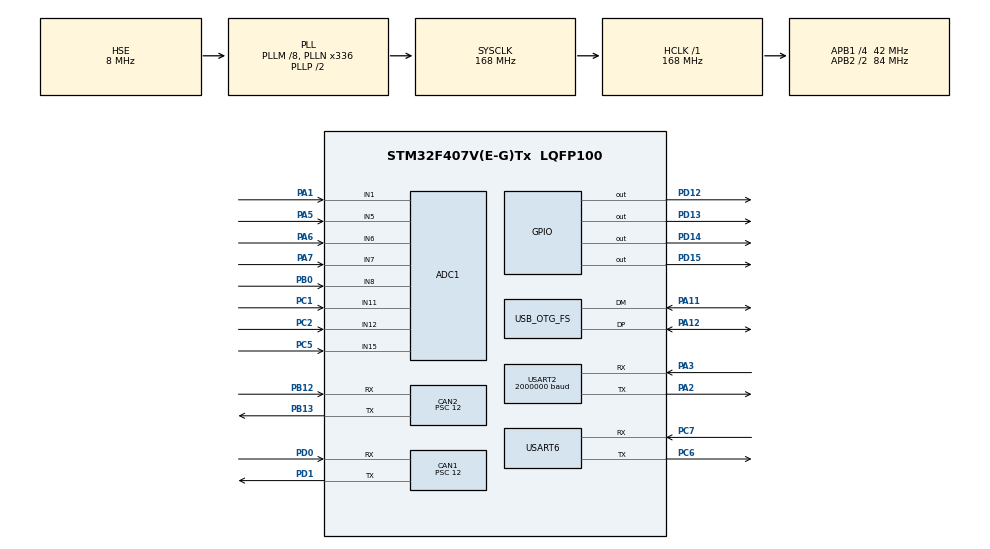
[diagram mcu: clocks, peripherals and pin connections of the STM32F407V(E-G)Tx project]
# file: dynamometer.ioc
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ADC1.Channel-0\#ChannelRegularConversion=ADC_CHANNEL_1
ADC1.Channel-1\#ChannelRegularConversion=ADC_CHANNEL_5
ADC1.Channel-2\#ChannelRegularConversion=ADC_CHANNEL_6
ADC1.Channel-3\#ChannelRegularConversion=ADC_CHANNEL_7
ADC1.Channel-4\#ChannelRegularConversion=ADC_CHANNEL_8
ADC1.Channel-5\#ChannelRegularConversion=ADC_CHANNEL_11
ADC1.Channel-6\#ChannelRegularConversion=ADC_CHANNEL_12
ADC1.Channel-7\#ChannelRegularConversion=ADC_CHANNEL_15
ADC1.Channel-8\#ChannelRegularConversion=ADC_CHANNEL_TEMPSENSOR
ADC1.Channel-9\#ChannelRegularConversion=ADC_CHANNEL_VREFINT
ADC1.ContinuousConvMode=ENABLE
ADC1.DMAContinuousRequests=ENABLE
ADC1.NbrOfConversion=10
ADC1.NbrOfConversionFlag=1
ADC1.Rank-0\#ChannelRegularConversion=1
ADC1.Rank-1\#ChannelRegularConversion=2
ADC1.Rank-2\#ChannelRegularConversion=3
ADC1.Rank-3\#ChannelRegularConversion=4
ADC1.Rank-4\#ChannelRegularConversion=5
ADC1.Rank-5\#ChannelRegularConversion=6
ADC1.Rank-6\#ChannelRegularConversion=7
ADC1.Rank-7\#ChannelRegularConversion=8
ADC1.Rank-8\#ChannelRegularConversion=9
ADC1.Rank-9\#ChannelRegularConversion=10
ADC1.SamplingTime-0\#ChannelRegularConversion=ADC_SAMPLETIME_56CYCLES
ADC1.SamplingTime-1\#ChannelRegularConversion=ADC_SAMPLETIME_56CYCLES
ADC1.SamplingTime-2\#ChannelRegularConversion=ADC_SAMPLETIME_56CYCLES
ADC1.SamplingTime-3\#ChannelRegularConversion=ADC_SAMPLETIME_56CYCLES
ADC1.SamplingTime-4\#ChannelRegularConversion=ADC_SAMPLETIME_56CYCLES
ADC1.SamplingTime-5\#ChannelRegularConversion=ADC_SAMPLETIME_56CYCLES
ADC1.SamplingTime-6\#ChannelRegularConversion=ADC_SAMPLETIME_56CYCLES
ADC1.SamplingTime-7\#ChannelRegularConversion=ADC_SAMPLETIME_56CYCLES
ADC1.SamplingTime-8\#ChannelRegularConversion=ADC_SAMPLETIME_480CYCLES
ADC1.SamplingTime-9\#ChannelRegularConversion=ADC_SAMPLETIME_480CYCLES
ADC1.ScanConvMode=ENABLE
ADC1.master=1
CAN1.BS1=CAN_BS1_5TQ
CAN1.CalculateTimeQuantum=285.7142857142857
CAN1.Prescaler=12
CAN2.BS1=CAN_BS1_5TQ
CAN2.CalculateTimeQuantum=285.7142857142857
CAN2.Prescaler=12
Dma.Request0=USART2_RX
Dma.Request1=USART2_TX
Dma.Request2=USART6_RX
Dma.Request3=USART6_TX
Dma.USART2_RX.0.Direction=DMA_PERIPH_TO_MEMORY
Dma.USART2_RX.0.FIFOMode=DMA_FIFOMODE_DISABLE
Dma.USART2_RX.0.Instance=DMA1_Stream5
Dma.USART2_RX.0.MemDataAlignment=DMA_MDATAALIGN_BYTE
Dma.USART2_RX.0.MemInc=DMA_MINC_ENABLE
Dma.USART2_RX.0.Mode=DMA_CIRCULAR
Dma.USART2_RX.0.PeriphDataAlignment=DMA_PDATAALIGN_BYTE
Dma.USART2_RX.0.PeriphInc=DMA_PINC_DISABLE
Dma.USART2_RX.0.Priority=DMA_PRIORITY_LOW
Dma.USART2_TX.1.Direction=DMA_MEMORY_TO_PERIPH
Dma.USART2_TX.1.FIFOMode=DMA_FIFOMODE_DISABLE
Dma.USART2_TX.1.Instance=DMA1_Stream6
Dma.USART2_TX.1.MemDataAlignment=DMA_MDATAALIGN_BYTE
Dma.USART2_TX.1.MemInc=DMA_MINC_ENABLE
Dma.USART2_TX.1.Mode=DMA_NORMAL
Dma.USART2_TX.1.PeriphDataAlignment=DMA_PDATAALIGN_BYTE
Dma.USART2_TX.1.PeriphInc=DMA_PINC_DISABLE
Dma.USART2_TX.1.Priority=DMA_PRIORITY_LOW
Dma.USART6_RX.2.Direction=DMA_PERIPH_TO_MEMORY
Dma.USART6_RX.2.FIFOMode=DMA_FIFOMODE_DISABLE
Dma.USART6_RX.2.Instance=DMA2_Stream1
Dma.USART6_RX.2.MemDataAlignment=DMA_MDATAALIGN_BYTE
Dma.USART6_RX.2.MemInc=DMA_MINC_ENABLE
Dma.USART6_RX.2.Mode=DMA_CIRCULAR
Dma.USART6_RX.2.PeriphDataAlignment=DMA_PDATAALIGN_BYTE
Dma.USART6_RX.2.PeriphInc=DMA_PINC_DISABLE
Dma.USART6_RX.2.Priority=DMA_PRIORITY_LOW
Dma.USART6_TX.3.Direction=DMA_MEMORY_TO_PERIPH
Dma.USART6_TX.3.FIFOMode=DMA_FIFOMODE_DISABLE
Dma.USART6_TX.3.Instance=DMA2_Stream6
Dma.USART6_TX.3.MemDataAlignment=DMA_MDATAALIGN_BYTE
Dma.USART6_TX.3.MemInc=DMA_MINC_ENABLE
Dma.USART6_TX.3.Mode=DMA_NORMAL
Dma.USART6_TX.3.PeriphDataAlignment=DMA_PDATAALIGN_BYTE
Dma.USART6_TX.3.PeriphInc=DMA_PINC_DISABLE
Dma.USART6_TX.3.Priority=DMA_PRIORITY_LOW
FREERTOS.INCLUDE_uxTaskGetStackHighWaterMark=1
FREERTOS.INCLUDE_vTaskDelayUntil=1
FREERTOS.INCLUDE_vTaskDelete=0
FREERTOS.INCLUDE_xTaskGetCurrentTaskHandle=1
FREERTOS.MEMORY_ALLOCATION=2
FREERTOS.Tasks01=defaultTask,0,128,StartDefaultTask,Default,NULL
FREERTOS.configCHECK_FOR_STACK_OVERFLOW=2
FREERTOS.configMINIMAL_STACK_SIZE=64
FREERTOS.configQUEUE_REGISTRY_SIZE=12
FREERTOS.configTICK_RATE_HZ=512
FREERTOS.configUSE_TIMERS=1
Mcu.Family=STM32F4
Mcu.Name=STM32F407V(E-G)Tx
Mcu.Package=LQFP100
NVIC.ADC_IRQn=true\:6\:0\:true\:false\:true\:true\:true
NVIC.CAN1_RX0_IRQn=true\:7\:0\:true\:false\:true\:true\:true
NVIC.CAN1_RX1_IRQn=true\:7\:0\:true\:false\:true\:true\:true
NVIC.CAN1_TX_IRQn=true\:5\:0\:false\:false\:true\:true\:true
NVIC.CAN2_RX0_IRQn=true\:7\:0\:true\:false\:true\:true\:true
NVIC.CAN2_RX1_IRQn=true\:7\:0\:true\:false\:true\:true\:true
NVIC.CAN2_TX_IRQn=true\:5\:0\:false\:false\:true\:true\:true
NVIC.DMA1_Stream5_IRQn=true\:5\:0\:true\:false\:true\:true\:false
NVIC.DMA1_Stream6_IRQn=true\:6\:0\:true\:false\:true\:true\:false
NVIC.DMA2_Stream1_IRQn=true\:7\:0\:true\:false\:true\:true\:false
NVIC.DMA2_Stream6_IRQn=true\:7\:0\:true\:false\:true\:true\:false
NVIC.OTG_FS_IRQn=true\:5\:0\:false\:false\:true\:true\:false
NVIC.PriorityGroup=NVIC_PRIORITYGROUP_4
NVIC.TIM5_IRQn=true\:0\:0\:false\:false\:true\:false\:false
NVIC.TimeBase=TIM5_IRQn
NVIC.TimeBaseIP=TIM5
NVIC.USART2_IRQn=true\:6\:0\:true\:false\:true\:true\:true
NVIC.USART6_IRQn=true\:8\:0\:true\:false\:true\:true\:true
PA1.Signal=ADCx_IN1
PA11.Mode=Device_Only
PA11.Signal=USB_OTG_FS_DM
PA12.Mode=Device_Only
PA12.Signal=USB_OTG_FS_DP
PA2.Mode=Asynchronous
PA2.Signal=USART2_TX
PA3.Mode=Asynchronous
PA3.Signal=USART2_RX
PA5.Signal=ADCx_IN5
PA6.Signal=ADCx_IN6
PA7.Signal=ADCx_IN7
PB0.Signal=ADCx_IN8
PB12.Mode=Slave
PB12.Signal=CAN2_RX
PB13.Mode=Slave
PB13.Signal=CAN2_TX
PC1.Signal=ADCx_IN11
PC2.Signal=ADCx_IN12
PC5.Signal=ADCx_IN15
PC6.Mode=Asynchronous
PC6.Signal=USART6_TX
PC7.Mode=Asynchronous
PC7.Signal=USART6_RX
PD0.Mode=Master
PD0.Signal=CAN1_RX
PD1.Mode=Master
PD1.Signal=CAN1_TX
PD12.Signal=GPIO_Output
PD13.Signal=GPIO_Output
PD14.Signal=GPIO_Output
PD15.Signal=GPIO_Output
PH0-OSC_IN.Mode=HSE-External-Oscillator
PH0-OSC_IN.Signal=RCC_OSC_IN
PH1-OSC_OUT.Mode=HSE-External-Oscillator
PH1-OSC_OUT.Signal=RCC_OSC_OUT
ProjectManager.HeapSize=0x200
ProjectManager.StackSize=0x400
ProjectManager.TargetToolchain=Makefile
RCC.48MHZClocksFreq_Value=48000000
RCC.AHBFreq_Value=168000000
RCC.APB1CLKDivider=RCC_HCLK_DIV4
RCC.APB1Freq_Value=42000000
RCC.APB1TimFreq_Value=84000000
RCC.APB2CLKDivider=RCC_HCLK_DIV2
RCC.APB2Freq_Value=84000000
RCC.APB2TimFreq_Value=168000000
RCC.CortexFreq_Value=168000000
RCC.HCLKFreq_Value=168000000
RCC.HSE_VALUE=8000000
RCC.HSI_VALUE=16000000
RCC.LSE_VALUE=32768
RCC.PLLM=8
RCC.PLLN=336
RCC.PLLQ=7
RCC.SYSCLKFreq_VALUE=168000000
RCC.SYSCLKSource=RCC_SYSCLKSOURCE_PLLCLK
RCC.VCOOutputFreq_Value=336000000
SH.ADCx_IN1.0=ADC1_IN1,IN1
SH.ADCx_IN11.0=ADC1_IN11,IN11
SH.ADCx_IN12.0=ADC1_IN12,IN12
SH.ADCx_IN15.0=ADC1_IN15,IN15
SH.ADCx_IN5.0=ADC1_IN5,IN5
SH.ADCx_IN6.0=ADC1_IN6,IN6
SH.ADCx_IN7.0=ADC1_IN7,IN7
SH.ADCx_IN8.0=ADC1_IN8,IN8
USART2.BaudRate=2000000
USART2.VirtualMode=VM_ASYNC
USART6.VirtualMode=VM_ASYNC
USB_DEVICE.CLASS_NAME_FS=CDC
USB_DEVICE.VirtualMode-CDC_FS=Cdc
USB_DEVICE.VirtualModeFS=Cdc_FS
USB_OTG_FS.VirtualMode=Device_Only
VP_ADC1_TempSens_Input.Mode=IN-TempSens
VP_ADC1_Vref_Input.Mode=IN-Vrefint
VP_FREERTOS_VS_ENABLE.Mode=Enabled
VP_SYS_VS_tim5.Mode=TIM5
VP_USB_DEVICE_VS_USB_DEVICE_CDC_FS.Mode=CDC_FS
board=custom

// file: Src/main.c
/* USER CODE BEGIN Header */
/**
  ******************************************************************************
  * @file           : main.c
  * @brief          : Main program body
  ******************************************************************************
  * This notice applies to any and all portions of this file
  * that are not between comment pairs USER CODE BEGIN and
  * USER CODE END. Other portions of this file, whether
  * inserted by the user or by software development tools
  * are owned by their respective copyright owners.
  *
  * Copyright (c) 2019 STMicroelectronics International N.V.
  * All rights reserved.
  *
  * Redistribution and use in source and binary forms, with or without
  * modification, are permitted, provided that the following conditions are met:
  *
  * 1. Redistribution of source code must retain the above copyright notice,
  *    this list of conditions and the following disclaimer.
  * 2. Redistributions in binary form must reproduce the above copyright notice,
  *    this list of conditions and the following disclaimer in the documentation
  *    and/or other materials provided with the distribution.
  * 3. Neither the name of STMicroelectronics nor the names of other
  *    contributors to this software may be used to endorse or promote products
  *    derived from this software without specific written permission.
  * 4. This software, including modifications and/or derivative works of this
  *    software, must execute solely and exclusively on microcontroller or
  *    microprocessor devices manufactured by or for STMicroelectronics.
  * 5. Redistribution and use of this software other than as permitted under
  *    this license is void and will automatically terminate your rights under
  *    this license.
  *
  * THIS SOFTWARE IS PROVIDED BY STMICROELECTRONICS AND CONTRIBUTORS "AS IS"
  * AND ANY EXPRESS, IMPLIED OR STATUTORY WARRANTIES, INCLUDING, BUT NOT
  * LIMITED TO, THE IMPLIED WARRANTIES OF MERCHANTABILITY, FITNESS FOR A
  * PARTICULAR PURPOSE AND NON-INFRINGEMENT OF THIRD PARTY INTELLECTUAL PROPERTY
  * RIGHTS ARE DISCLAIMED TO THE FULLEST EXTENT PERMITTED BY LAW. IN NO EVENT
  * SHALL STMICROELECTRONICS OR CONTRIBUTORS BE LIABLE FOR ANY DIRECT, INDIRECT,
  * INCIDENTAL, SPECIAL, EXEMPLARY, OR CONSEQUENTIAL DAMAGES (INCLUDING, BUT NOT
  * LIMITED TO, PROCUREMENT OF SUBSTITUTE GOODS OR SERVICES; LOSS OF USE, DATA,
  * OR PROFITS; OR BUSINESS INTERRUPTION) HOWEVER CAUSED AND ON ANY THEORY OF
  * LIABILITY, WHETHER IN CONTRACT, STRICT LIABILITY, OR TORT (INCLUDING
  * NEGLIGENCE OR OTHERWISE) ARISING IN ANY WAY OUT OF THE USE OF THIS SOFTWARE,
  * EVEN IF ADVISED OF THE POSSIBILITY OF SUCH DAMAGE.
  *
  ******************************************************************************
  */
/* USER CODE END Header */

#include "main.h"
#include "cmsis_os.h"
#include "usb_device.h"

/* USER CODE BEGIN Includes */
#include <string.h>
#include "SerialTaskSend.h"
#include "stm32f4xx_hal_pcd.h"
#include "usbd_cdc_if.h"
#include "cdc_txbuff.h"
#include "CanTask.h"
#include "can_iface.h"
#include "canfilter_setup.h"
#include "stm32f4xx_hal_can.h"
#include "getserialbuf.h"
#include "stackwatermark.h"
#include "yprintf.h"
#include "gateway_comm.h"
#include "gateway_CANtoPC.h"
#include "DTW_counter.h"
#include "SerialTaskReceive.h"
#include "yscanf.h"
#include "adctask.h"
#include "ADCTask.h"
#include "adcparams.h"
#include "adcparamsinit.h"
#include "gateway_PCtoCAN.h"
#include "morse.h"
#include "MailboxTask.h"
#include "GatewayTask.h"
#include "iir_f2.h"

/* USER CODE END Includes */

/* USER CODE BEGIN PTD */
#define CONFIGCAN2	// Do initializations for CAN2

void* verr[8];
uint32_t verrx = 0;
__attribute__( ( always_inline ) ) __STATIC_INLINE uint32_t __get_SP(void)
{
  register uint32_t result;

  __ASM volatile ("MOV %0, SP\n" : "=r" (result) );
  return(result);
}

uint32_t timectr = 0;
struct CAN_CTLBLOCK* pctl0;	// Pointer to CAN1 control block
struct CAN_CTLBLOCK* pctl1;	// Pointer to CAN2 control block

uint32_t debugTX1b;
uint32_t debugTX1b_prev;

uint32_t debugTX1c;
uint32_t debugTX1c_prev;

uint32_t debug03;
uint32_t debug03_prev;

extern osThreadId SerialTaskHandle;
extern osThreadId CanTxTaskHandle;
extern osThreadId CanRxTaskHandle;
extern osThreadId SerialTaskReceiveHandle;
extern osThreadId GatewayTaskHandle;

uint8_t canflag;
uint8_t canflag1;
uint8_t canflag2;

/* USER CODE END PTD */

ADC_HandleTypeDef hadc1;
DMA_HandleTypeDef hdma_adc1;

CAN_HandleTypeDef hcan1;
CAN_HandleTypeDef hcan2;

UART_HandleTypeDef huart2;
UART_HandleTypeDef huart6;
DMA_HandleTypeDef hdma_usart2_rx;
DMA_HandleTypeDef hdma_usart2_tx;
DMA_HandleTypeDef hdma_usart6_rx;
DMA_HandleTypeDef hdma_usart6_tx;

osThreadId defaultTaskHandle;
osTimerId defaultTaskTimerHandle;
osTimerId defautTaskTimer01Handle;

void SystemClock_Config(void);
static void MX_GPIO_Init(void);
static void MX_DMA_Init(void);
static void MX_USART6_UART_Init(void);
static void MX_USART2_UART_Init(void);
static void MX_CAN1_Init(void);
static void MX_CAN2_Init(void);
static void MX_ADC1_Init(void);
void StartDefaultTask(void const * argument);
void CallbackdefaultTaskTimer(void const * argument);
void CallbackdefaultTaskTimer01(void const * argument);

int main(void)
{
  /* USER CODE BEGIN 1 */
	BaseType_t ret;	   // Used for returns from function calls
	osMessageQId Qidret; // Functin call return
  /* USER CODE END 1 */

  /* MCU Configuration--------------------------------------------------------*/

  /* Reset of all peripherals, Initializes the Flash interface and the Systick. */
  HAL_Init();

  /* USER CODE BEGIN Init */
	DTW_counter_init();
  /* USER CODE END Init */

  /* Configure the system clock */
  SystemClock_Config();

  /* Initialize all configured peripherals */
  MX_GPIO_Init();
  MX_DMA_Init();
  MX_USART6_UART_Init();
  MX_USART2_UART_Init();
  MX_CAN1_Init();
  MX_CAN2_Init();
  MX_ADC1_Init();
  /* USER CODE BEGIN 2 */
/*
DiscoveryF4 LEDs --
 GPIOD, GPIO_PIN_12 GREEN
 GPIOD, GPIO_PIN_13 ORANGE
 GPIOD, GPIO_PIN_14 RED
 GPIOD, GPIO_PIN_15 BLUE
*/

  /* USER CODE END 2 */

  /* Create the timer(s) */
  /* definition and creation of defaultTaskTimer */
  osTimerDef(defaultTaskTimer, CallbackdefaultTaskTimer);
  defaultTaskTimerHandle = osTimerCreate(osTimer(defaultTaskTimer), osTimerPeriodic, NULL);

  /* definition and creation of defautTaskTimer01 */
  osTimerDef(defautTaskTimer01, CallbackdefaultTaskTimer01);
  defautTaskTimer01Handle = osTimerCreate(osTimer(defautTaskTimer01), osTimerPeriodic, NULL);

  /* USER CODE BEGIN RTOS_TIMERS */
  /* start timers, add new ones, ... */

	/* defaultTask timer for pacing display of stack usages. */
	ret = xTimerChangePeriod( defaultTaskTimerHandle  ,pdMS_TO_TICKS(5000),0);
	/* defaultTask timer for pacing ADC monitoring. */
	ret = xTimerChangePeriod( defautTaskTimer01Handle,pdMS_TO_TICKS(1000),0);

  /* USER CODE END RTOS_TIMERS */

  /* Create the thread(s) */
  /* definition and creation of defaultTask */
  osThreadDef(defaultTask, StartDefaultTask, osPriorityLow, 0, 384);
  defaultTaskHandle = osThreadCreate(osThread(defaultTask), NULL);

  /* USER CODE BEGIN RTOS_THREADS */
  /* add threads, ... */
/* =================================================== */
	/* Create serial task (priority) */
	// Task handle "osThreadId SerialTaskHandle" is global
	xSerialTaskSendCreate(0);	// Create task and set Task priority

	/* Add bcb circular buffer to SerialTaskSend for usart6 */
	#define NUMCIRBCB6  16 // Size of circular buffer of BCB for usart6
	ret = xSerialTaskSendAdd(&huart6, NUMCIRBCB6, 0); // char-by-char
	if (ret < 0) morse_trap(1); // Panic LED flashing

	/* Add bcb circular buffer to SerialTaskSend for usart2 */
	#define NUMCIRBCB2  16 // Size of circular buffer of BCB for usart2
	ret = xSerialTaskSendAdd(&huart2, NUMCIRBCB2, 1); // dma
	if (ret < 0) morse_trap(2); // Panic LED flashing

	/* Setup semaphore for yprint and sprintf et al. */
	yprintf_init();

	/* Create serial receiving task. */
	xSerialTaskReceiveCreate(0);

	/* USB-CDC buffering */
	#define NUMCDCBUFF 3	// Number of CDC task local buffers
	#define CDCBUFFSIZE 64*16	// Best buff size is multiples of usb packet size
	struct CDCBUFFPTR* pret;
	pret = cdc_txbuff_init(NUMCDCBUFF, CDCBUFFSIZE); // Setup local buffers
	if (pret == NULL) morse_trap(3);

	/* USB-CDC queue and task creation */
	Qidret = xCdcTxTaskSendCreate(3);
	if (Qidret < 0) morse_trap(4); // Maybe add panic led flashing here

  /* definition and creation of CanTxTask - CAN driver TX interface. */
  Qidret = xCanTxTaskCreate(0, 32); // CanTask priority, Number of msgs in queue
	if (Qidret < 0) morse_trap(5); // Panic LED flashing

  /* definition and creation of CanRxTask - CAN driver RX interface. */
//  Qidret = xCanRxTaskCreate(1, 32); // CanTask priority, Number of msgs in queue
//	if (Qidret < 0) morse_trap(6); // Panic LED flashing

	/* Setup TX linked list for CAN  */
   // CAN1 (CAN_HandleTypeDef *phcan, uint8_t canidx, uint16_t numtx, uint16_t numrx);
	pctl0 = can_iface_init(&hcan1, 0, 32, 64);
	if (pctl0 == NULL) morse_trap(7); // Panic LED flashing
	if (pctl0->ret < 0) morse_trap(77);

	// CAN 2
#ifdef CONFIGCAN2
	pctl1 = can_iface_init(&hcan2, 1,32, 64);
	if (pctl1 == NULL) morse_trap(8); // Panic LED flashing
	if (pctl1->ret < 0) morse_trap(88);
#endif

	/* Setup CAN hardware filters to default to accept all ids. */
	HAL_StatusTypeDef Cret;
	Cret = canfilter_setup_first(0, &hcan1, 15); // CAN1
	if (Cret == HAL_ERROR) morse_trap(9);

#ifdef CONFIGCAN2
	Cret = canfilter_setup_first(1, &hcan2, 15); // CAN2
	if (Cret == HAL_ERROR) morse_trap(10);
#endif

	/* Remove "accept all" CAN msgs and add specific id & mask, or id here. */
	// See canfilter_setup.h

	/* Create MailboxTask */
	xMailboxTaskCreate(2);

	/* Create GatewayTask */
	xGatewayTaskCreate(1);

	/* Create Mailbox control block w 'take' pointer for each CAN module. */
	struct MAILBOXCANNUM* pmbxret;
	// (CAN1 control block pointer, size of circular buffer)
	pmbxret = MailboxTask_add_CANlist(pctl0, 48);
	if (pmbxret == NULL) morse_trap(16);

	// (CAN2 control block pointer, size of circular buffer)
	MailboxTask_add_CANlist(pctl1, 48); // Use default buff size
	if (pmbxret == NULL) morse_trap(17);

	/* Further initialization of mailboxes takes place when tasks start */

	/* Select interrupts for CAN1 */
	HAL_CAN_ActivateNotification(&hcan1, \
		CAN_IT_TX_MAILBOX_EMPTY     |  \
		CAN_IT_RX_FIFO0_MSG_PENDING |  \
		CAN_IT_RX_FIFO1_MSG_PENDING    );

	/* Select interrupts for CAN2 */
#ifdef CONFIGCAN2
	HAL_CAN_ActivateNotification(&hcan2, \
		CAN_IT_TX_MAILBOX_EMPTY     |  \
		CAN_IT_RX_FIFO0_MSG_PENDING |  \
		CAN_IT_RX_FIFO1_MSG_PENDING    );
#endif

	/* Start CANs */
	HAL_CAN_Start(&hcan1); // CAN1
#ifdef CONFIGCAN2
	HAL_CAN_Start(&hcan2); // CAN2
#endif

	/* ADC summing, calibration, etc. */
	xADCTaskCreate(3);

/* =================================================== */

  /* USER CODE END RTOS_THREADS */

  /* Start scheduler */
  osKernelStart();

  /* We should never get here as control is now taken by the scheduler */

  /* Infinite loop */
  while (1)
  {

  }
}

void SystemClock_Config(void)
{
  RCC_OscInitTypeDef RCC_OscInitStruct = {0};
  RCC_ClkInitTypeDef RCC_ClkInitStruct = {0};

  /**Configure the main internal regulator output voltage
  */
  __HAL_RCC_PWR_CLK_ENABLE();
  __HAL_PWR_VOLTAGESCALING_CONFIG(PWR_REGULATOR_VOLTAGE_SCALE1);
  /**Initializes the CPU, AHB and APB busses clocks
  */
  RCC_OscInitStruct.OscillatorType = RCC_OSCILLATORTYPE_HSE;
  RCC_OscInitStruct.HSEState = RCC_HSE_ON;
  RCC_OscInitStruct.PLL.PLLState = RCC_PLL_ON;
  RCC_OscInitStruct.PLL.PLLSource = RCC_PLLSOURCE_HSE;
  RCC_OscInitStruct.PLL.PLLM = 8;
  RCC_OscInitStruct.PLL.PLLN = 336;
  RCC_OscInitStruct.PLL.PLLP = RCC_PLLP_DIV2;
  RCC_OscInitStruct.PLL.PLLQ = 7;
  if (HAL_RCC_OscConfig(&RCC_OscInitStruct) != HAL_OK)
  {
    Error_Handler();
  }
  /**Initializes the CPU, AHB and APB busses clocks
  */
  RCC_ClkInitStruct.ClockType = RCC_CLOCKTYPE_HCLK|RCC_CLOCKTYPE_SYSCLK
                              |RCC_CLOCKTYPE_PCLK1|RCC_CLOCKTYPE_PCLK2;
  RCC_ClkInitStruct.SYSCLKSource = RCC_SYSCLKSOURCE_PLLCLK;
  RCC_ClkInitStruct.AHBCLKDivider = RCC_SYSCLK_DIV1;
  RCC_ClkInitStruct.APB1CLKDivider = RCC_HCLK_DIV4;
  RCC_ClkInitStruct.APB2CLKDivider = RCC_HCLK_DIV2;

  if (HAL_RCC_ClockConfig(&RCC_ClkInitStruct, FLASH_LATENCY_5) != HAL_OK)
  {
    Error_Handler();
  }
}

static void MX_ADC1_Init(void)
{

  ADC_ChannelConfTypeDef sConfig = {0};

  /**Configure the global features of the ADC (Clock, Resolution, Data Alignment and number of conversion)
  */
  hadc1.Instance = ADC1;
  hadc1.Init.ClockPrescaler = ADC_CLOCK_SYNC_PCLK_DIV4;
  hadc1.Init.Resolution = ADC_RESOLUTION_12B;
  hadc1.Init.ScanConvMode = ENABLE;
  hadc1.Init.ContinuousConvMode = ENABLE;
  hadc1.Init.DiscontinuousConvMode = DISABLE;
  hadc1.Init.ExternalTrigConvEdge = ADC_EXTERNALTRIGCONVEDGE_NONE;
  hadc1.Init.ExternalTrigConv = ADC_SOFTWARE_START;
  hadc1.Init.DataAlign = ADC_DATAALIGN_RIGHT;
  hadc1.Init.NbrOfConversion = 10;
  hadc1.Init.DMAContinuousRequests = ENABLE;
  hadc1.Init.EOCSelection = ADC_EOC_SINGLE_CONV;
  if (HAL_ADC_Init(&hadc1) != HAL_OK)
  {
    Error_Handler();
  }
  /**Configure for the selected ADC regular channel its corresponding rank in the sequencer and its sample time.
  */
  sConfig.Channel = ADC_CHANNEL_1;
  sConfig.Rank = 1;
  sConfig.SamplingTime = ADC_SAMPLETIME_56CYCLES;
  if (HAL_ADC_ConfigChannel(&hadc1, &sConfig) != HAL_OK)
  {
    Error_Handler();
  }
  /**Configure for the selected ADC regular channel its corresponding rank in the sequencer and its sample time.
  */
  sConfig.Channel = ADC_CHANNEL_5;
  sConfig.Rank = 2;
  if (HAL_ADC_ConfigChannel(&hadc1, &sConfig) != HAL_OK)
  {
    Error_Handler();
  }
  /**Configure for the selected ADC regular channel its corresponding rank in the sequencer and its sample time.
  */
  sConfig.Channel = ADC_CHANNEL_6;
  sConfig.Rank = 3;
  if (HAL_ADC_ConfigChannel(&hadc1, &sConfig) != HAL_OK)
  {
    Error_Handler();
  }
  /**Configure for the selected ADC regular channel its corresponding rank in the sequencer and its sample time.
  */
  sConfig.Channel = ADC_CHANNEL_7;
  sConfig.Rank = 4;
  if (HAL_ADC_ConfigChannel(&hadc1, &sConfig) != HAL_OK)
  {
    Error_Handler();
  }
  /**Configure for the selected ADC regular channel its corresponding rank in the sequencer and its sample time.
  */
  sConfig.Channel = ADC_CHANNEL_8;
  sConfig.Rank = 5;
  if (HAL_ADC_ConfigChannel(&hadc1, &sConfig) != HAL_OK)
  {
    Error_Handler();
  }
  /**Configure for the selected ADC regular channel its corresponding rank in the sequencer and its sample time.
  */
  sConfig.Channel = ADC_CHANNEL_11;
  sConfig.Rank = 6;
  if (HAL_ADC_ConfigChannel(&hadc1, &sConfig) != HAL_OK)
  {
    Error_Handler();
  }
  /**Configure for the selected ADC regular channel its corresponding rank in the sequencer and its sample time.
  */
  sConfig.Channel = ADC_CHANNEL_12;
  sConfig.Rank = 7;
  if (HAL_ADC_ConfigChannel(&hadc1, &sConfig) != HAL_OK)
  {
    Error_Handler();
  }
  /**Configure for the selected ADC regular channel its corresponding rank in the sequencer and its sample time.
  */
  sConfig.Channel = ADC_CHANNEL_15;
  sConfig.Rank = 8;
  if (HAL_ADC_ConfigChannel(&hadc1, &sConfig) != HAL_OK)
  {
    Error_Handler();
  }
  /**Configure for the selected ADC regular channel its corresponding rank in the sequencer and its sample time.
  */
  sConfig.Channel = ADC_CHANNEL_TEMPSENSOR;
  sConfig.Rank = 9;
  sConfig.SamplingTime = ADC_SAMPLETIME_480CYCLES;
  if (HAL_ADC_ConfigChannel(&hadc1, &sConfig) != HAL_OK)
  {
    Error_Handler();
  }
  /**Configure for the selected ADC regular channel its corresponding rank in the sequencer and its sample time.
  */
  sConfig.Channel = ADC_CHANNEL_VREFINT;
  sConfig.Rank = 10;
  if (HAL_ADC_ConfigChannel(&hadc1, &sConfig) != HAL_OK)
  {
    Error_Handler();
  }

}

static void MX_CAN1_Init(void)
{

  hcan1.Instance = CAN1;
  hcan1.Init.Prescaler = 12;
  hcan1.Init.Mode = CAN_MODE_NORMAL;
  hcan1.Init.SyncJumpWidth = CAN_SJW_1TQ;
  hcan1.Init.TimeSeg1 = CAN_BS1_5TQ;
  hcan1.Init.TimeSeg2 = CAN_BS2_1TQ;
  hcan1.Init.TimeTriggeredMode = DISABLE;
  hcan1.Init.AutoBusOff = DISABLE;
  hcan1.Init.AutoWakeUp = DISABLE;
  hcan1.Init.AutoRetransmission = DISABLE;
  hcan1.Init.ReceiveFifoLocked = DISABLE;
  hcan1.Init.TransmitFifoPriority = DISABLE;
  if (HAL_CAN_Init(&hcan1) != HAL_OK)
  {
    Error_Handler();
  }

}

static void MX_CAN2_Init(void)
{

  hcan2.Instance = CAN2;
  hcan2.Init.Prescaler = 12;
  hcan2.Init.Mode = CAN_MODE_NORMAL;
  hcan2.Init.SyncJumpWidth = CAN_SJW_1TQ;
  hcan2.Init.TimeSeg1 = CAN_BS1_5TQ;
  hcan2.Init.TimeSeg2 = CAN_BS2_1TQ;
  hcan2.Init.TimeTriggeredMode = DISABLE;
  hcan2.Init.AutoBusOff = DISABLE;
  hcan2.Init.AutoWakeUp = DISABLE;
  hcan2.Init.AutoRetransmission = DISABLE;
  hcan2.Init.ReceiveFifoLocked = DISABLE;
  hcan2.Init.TransmitFifoPriority = DISABLE;
  if (HAL_CAN_Init(&hcan2) != HAL_OK)
  {
    Error_Handler();
  }

}

static void MX_USART2_UART_Init(void)
{

  huart2.Instance = USART2;
  huart2.Init.BaudRate = 2000000;
  huart2.Init.WordLength = UART_WORDLENGTH_8B;
  huart2.Init.StopBits = UART_STOPBITS_1;
  huart2.Init.Parity = UART_PARITY_NONE;
  huart2.Init.Mode = UART_MODE_TX_RX;
  huart2.Init.HwFlowCtl = UART_HWCONTROL_NONE;
  huart2.Init.OverSampling = UART_OVERSAMPLING_16;
  if (HAL_UART_Init(&huart2) != HAL_OK)
  {
    Error_Handler();
  }

}

static void MX_USART6_UART_Init(void)
{

  huart6.Instance = USART6;
  huart6.Init.BaudRate = 115200;
  huart6.Init.WordLength = UART_WORDLENGTH_8B;
  huart6.Init.StopBits = UART_STOPBITS_1;
  huart6.Init.Parity = UART_PARITY_NONE;
  huart6.Init.Mode = UART_MODE_TX_RX;
  huart6.Init.HwFlowCtl = UART_HWCONTROL_NONE;
  huart6.Init.OverSampling = UART_OVERSAMPLING_16;
  if (HAL_UART_Init(&huart6) != HAL_OK)
  {
    Error_Handler();
  }

}

static void MX_DMA_Init(void)
{
  /* DMA controller clock enable */
  __HAL_RCC_DMA1_CLK_ENABLE();
  __HAL_RCC_DMA2_CLK_ENABLE();

  /* DMA interrupt init */
  /* DMA1_Stream5_IRQn interrupt configuration */
  HAL_NVIC_SetPriority(DMA1_Stream5_IRQn, 6, 0);
  HAL_NVIC_EnableIRQ(DMA1_Stream5_IRQn);
  /* DMA1_Stream6_IRQn interrupt configuration */
  HAL_NVIC_SetPriority(DMA1_Stream6_IRQn, 6, 0);
  HAL_NVIC_EnableIRQ(DMA1_Stream6_IRQn);
  /* DMA2_Stream0_IRQn interrupt configuration */
  HAL_NVIC_SetPriority(DMA2_Stream0_IRQn, 5, 0);
  HAL_NVIC_EnableIRQ(DMA2_Stream0_IRQn);
  /* DMA2_Stream1_IRQn interrupt configuration */
  HAL_NVIC_SetPriority(DMA2_Stream1_IRQn, 7, 0);
  HAL_NVIC_EnableIRQ(DMA2_Stream1_IRQn);
  /* DMA2_Stream6_IRQn interrupt configuration */
  HAL_NVIC_SetPriority(DMA2_Stream6_IRQn, 7, 0);
  HAL_NVIC_EnableIRQ(DMA2_Stream6_IRQn);

}

static void MX_GPIO_Init(void)
{
  GPIO_InitTypeDef GPIO_InitStruct = {0};

  /* GPIO Ports Clock Enable */
  __HAL_RCC_GPIOH_CLK_ENABLE();
  __HAL_RCC_GPIOC_CLK_ENABLE();
  __HAL_RCC_GPIOA_CLK_ENABLE();
  __HAL_RCC_GPIOB_CLK_ENABLE();
  __HAL_RCC_GPIOD_CLK_ENABLE();

  /*Configure GPIO pin Output Level */
  HAL_GPIO_WritePin(GPIOD, GPIO_PIN_12|GPIO_PIN_13|GPIO_PIN_14|GPIO_PIN_15, GPIO_PIN_RESET);

  /*Configure GPIO pins : PD12 PD13 PD14 PD15 */
  GPIO_InitStruct.Pin = GPIO_PIN_12|GPIO_PIN_13|GPIO_PIN_14|GPIO_PIN_15;
  GPIO_InitStruct.Mode = GPIO_MODE_OUTPUT_PP;
  GPIO_InitStruct.Pull = GPIO_NOPULL;
  GPIO_InitStruct.Speed = GPIO_SPEED_FREQ_LOW;
  HAL_GPIO_Init(GPIOD, &GPIO_InitStruct);

}

void StartDefaultTask(void const * argument)
{
  /* init code for USB_DEVICE */
  MX_USB_DEVICE_Init();

  /* USER CODE BEGIN 5 */

// ::::::::::::::::::::::::::
float out;
float in = 1;//4095;
float z1 = 0;
float z2 = 0;
double outf;

float KK =   0.08033129;//(0.02008282*4.0);
float b1 = -1.5609759;
float b2 = -0.64130712;

int ict = 0;

struct FILTERIIRF2 iir2;
iir_f2_coefficients(&iir2, 0.05, 0.707, 0);
// ::::::::::::::::::::::::::

	int i;

	#define DEFAULTTSKBIT00	(1 << 0)  // Task notification bit for sw timer: stackusage
	#define DEFAULTTSKBIT01	(1 << 1)  // Task notification bit for sw timer: something else

	/* A notification copies the internal notification word to this. */
	uint32_t noteval = 0;    // Receives notification word upon an API notify

	/* notification bits processed after a 'Wait. */
	uint32_t noteused = 0;

	struct SERIALSENDTASKBCB* pbuf1 = getserialbuf(&huart6,96);
	if (pbuf1 == NULL) morse_trap(11);

	struct SERIALSENDTASKBCB* pbuf3 = getserialbuf(&huart6,96);
	if (pbuf1 == NULL) morse_trap(13);

	struct SERIALSENDTASKBCB* pbuf2 = getserialbuf(&huart6,96);
	if (pbuf1 == NULL) morse_trap(12);

	struct SERIALSENDTASKBCB* pbuf4 = getserialbuf(&huart6,96);
	if (pbuf1 == NULL) morse_trap(12);

	int ctr = 0; // Running count
	uint32_t heapsize;

	/* Test CAN msg */
	struct CANTXQMSG testtx;
	testtx.pctl = pctl0;
	testtx.can.id = 0xc2200000;
	testtx.can.dlc = 8;
	for (i = 0; i < 8; i++)
		testtx.can.cd.uc[i] = 0x30 + i;
	testtx.maxretryct = 8;
	testtx.bits = 0;

HAL_GPIO_TogglePin(GPIOD,GPIO_PIN_15); // BLUE LED

	uint32_t dmact_prev = adcommon.dmact;

extern volatile uint32_t adcdbg2;

// ::::::::::::::::::::::::::::::::::::::::::
		yprintf(&pbuf3,"\n\n\rIIR2: b1 %14.8f b2 %14.8f gain %14.8f\n\r",iir2.b1, iir2.b2,iir2.gain);
// ::::::::::::::::::::::::::::::::::::::::::

	for ( ;; )
	{
		xTaskNotifyWait(noteused, 0, &noteval, portMAX_DELAY);
		noteused = 0;
		if ((noteval & DEFAULTTSKBIT00) != 0)
		{
			noteused |= DEFAULTTSKBIT00;

			/* Display the amount of unused stack space for tasks. */
			yprintf(&pbuf2,"\n\r%4i Unused Task stack space--", ctr++);
			stackwatermark_show(defaultTaskHandle,&pbuf2,"defaultTask--");
			stackwatermark_show(SerialTaskHandle ,&pbuf2,"SerialTask---");
			stackwatermark_show(CanTxTaskHandle  ,&pbuf2,"CanTxTask----");
	//		stackwatermark_show(CanRxTaskHandle  ,&pbuf2,"CanRxTask----");
			stackwatermark_show(MailboxTaskHandle,&pbuf2,"MailboxTask--");
			stackwatermark_show(ADCTaskHandle    ,&pbuf2,"ADCTask------");
			stackwatermark_show(SerialTaskReceiveHandle,&pbuf2,"SerialRcvTask");
			stackwatermark_show(GatewayTaskHandle,&pbuf2,"GatewayTask--");

			/* Heap usage (and test fp woking. */
			heapsize = xPortGetFreeHeapSize();
			yprintf(&pbuf3,"\n\rGetFreeHeapSize: total: %i used %i %3.1f%% free: %i",configTOTAL_HEAP_SIZE, heapsize,\
				100.0*(float)heapsize/configTOTAL_HEAP_SIZE,(configTOTAL_HEAP_SIZE-heapsize));

			/* ==== CAN MSG sending test ===== */
			/* Place test CAN msg to send on queue in a burst. */
			/* Note: an odd makes the LED flash since it toggles on each msg. */
			for (i = 0; i < 7; i++)
				xQueueSendToBack(CanTxQHandle,&testtx,portMAX_DELAY);
		}
		if ((noteval & DEFAULTTSKBIT01) != 0)
		{
			noteused |= DEFAULTTSKBIT01;
		HAL_GPIO_TogglePin(GPIOD,GPIO_PIN_15); // BLUE LED
			yprintf(&pbuf2,"\n\rADC: Vdd: %7.4f %8.4f   Temp: %6.1f %6.1f %i",adcommon.fvdd,adcommon.fvddfilt,adcommon.degC,adcommon.degCfilt,(adcommon.dmact-dmact_prev));
			dmact_prev = adcommon.dmact;

			yprintf(&pbuf4,"\n\r 3:   %d %d %d\n\r 5:   %d %7.4f %7.4f %7.1f",\
                 adc1data.adcs1sum[ADC1IDX_INTERNALVREF]/ADC1DMANUMSEQ, adcommon.ivdd, adcdbg2,\
                 adc1data.adcs1sum[ADC1IDX_5VOLTSUPPLY ]/ADC1DMANUMSEQ, adcommon.f5_Vddratio, adcommon.f5vsupply,adcommon.f5vsupplyfilt);

			yprintf(&pbuf3,"\n\rR4: %d %7.2f %7.2f",	adc1data.adcs1sum[ADC1IDX_RESISRPOT]/ADC1DMANUMSEQ, adc1data.adc1calreading[ADC1IDX_RESISRPOT].f,\
                 adc1data.adc1calreadingfilt[ADC1IDX_RESISRPOT].f);

// ::::::::::::::::::::::::::::::::::::::::::
		 out = in + z1;
   	 z1  = z2 - b1 * out;
   	 z2  = b2 * out;
		outf = out * KK;
		yprintf(&pbuf2,"\n\rIIR2: %3i %14.8f %14.8f %12.8f",ict,z1,z2,outf);

		outf = iir_f2_f(&iir2, 1.0);
		yprintf(&pbuf4,"\n\rIIR2: %3i %14.8f %14.8f %12.8f",ict++,iir2.z1,iir2.z2,outf);

// ::::::::::::::::::::::::::::::::::::::::::

		}
	}
  /* USER CODE END 5 */
}

/* CallbackdefaultTaskTimer function */
void CallbackdefaultTaskTimer(void const * argument)
{
  /* USER CODE BEGIN CallbackdefaultTaskTimer */
	BaseType_t xHigherPriorityTaskWoken = pdFALSE;
	xTaskNotifyFromISR(defaultTaskHandle,
		DEFAULTTSKBIT00,	/* 'or' bit assigned to buffer to notification value. */
		eSetBits,      /* Set 'or' option */
		&xHigherPriorityTaskWoken );

  /* USER CODE END CallbackdefaultTaskTimer */
}

/* CallbackdefaultTaskTimer01 function */
void CallbackdefaultTaskTimer01(void const * argument)
{
  /* USER CODE BEGIN CallbackdefaultTaskTimer01 */
  	BaseType_t xHigherPriorityTaskWoken = pdFALSE;
	xTaskNotifyFromISR(defaultTaskHandle,
		DEFAULTTSKBIT01,	/* 'or' bit assigned to buffer to notification value. */
		eSetBits,      /* Set 'or' option */
		&xHigherPriorityTaskWoken );
  /* USER CODE END CallbackdefaultTaskTimer01 */
}

void HAL_TIM_PeriodElapsedCallback(TIM_HandleTypeDef *htim)
{
  if (htim->Instance == TIM5) {
    HAL_IncTick();
  }
}

void Error_Handler(void)
{
}

/************************ (C) COPYRIGHT STMicroelectronics *****END OF FILE****/
